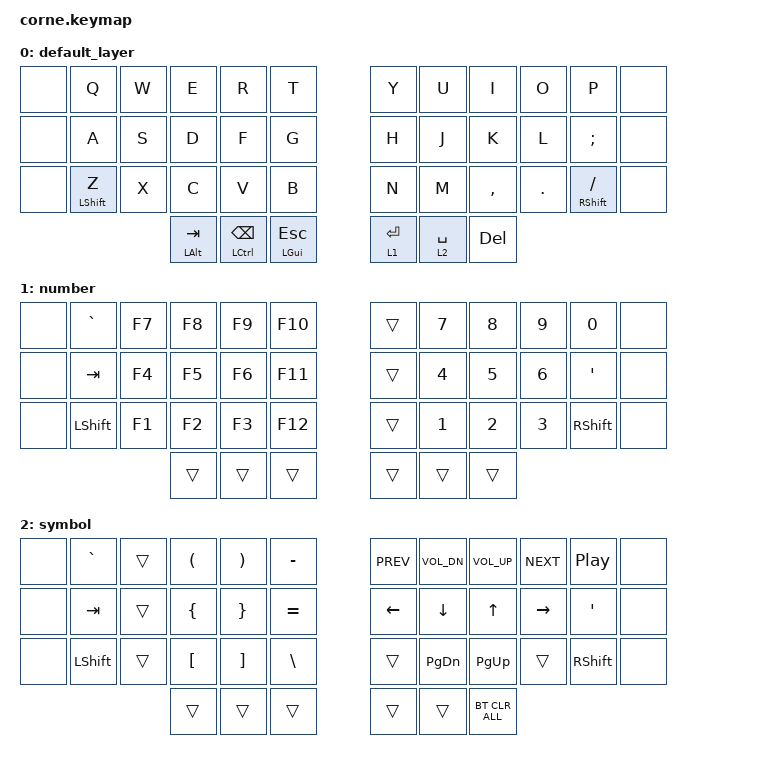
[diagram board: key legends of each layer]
/*
 * Copyright (c) 2020 The ZMK Contributors
 *
 * SPDX-License-Identifier: MIT
 */

#include <behaviors.dtsi>
#include <dt-bindings/zmk/bt.h>
#include <dt-bindings/zmk/keys.h>

/ {
    behaviors {
        ctrl_backspace: ctrl_backspace {
            compatible = "zmk,behavior-hold-tap";
            label = "CTRL_BACKSPACE";
            #binding-cells = <2>;
            tapping-term-ms = <100>;
            quick-tap-ms = <200>;
            bindings = <&kp>, <&kp>;

            flavor = "tap-preferred";
        };
    };

    keymap {
        compatible = "zmk,keymap";

        default_layer {
            // -----------------------------------------------------------------------------------------
            // |  TAB |  Q  |  W  |  E  |  R  |  T  |   |  Y  |  U   |  I  |  O  |  P  | BKSP |
            // | CTRL |  A  |  S  |  D  |  F  |  G  |   |  H  |  J   |  K  |  L  |  ;  |  '   |
            // | SHFT |  Z  |  X  |  C  |  V  |  B  |   |  N  |  M   |  ,  |  .  |  /  | ESC  |
            //                    | GUI | LWR | SPC |   | ENT | RSE  | ALT |

            bindings = <
&none  &kp Q         &kp W  &kp E         &kp R                                   &kp T                  &kp Y        &kp U        &kp I       &kp O    &kp P            &none
&none  &kp A         &kp S  &kp D         &kp F                                   &kp G                  &kp H        &kp J        &kp K       &kp L    &kp SEMI         &none
&none  &mt LSHIFT Z  &kp X  &kp C         &kp V                                   &kp B                  &kp N        &kp M        &kp COMMA   &kp DOT  &mt RSHIFT FSLH  &none
                            &mt LALT TAB  &ctrl_backspace LEFT_CONTROL BACKSPACE  &mt LEFT_GUI ESCAPE    &lt 1 ENTER  &lt 2 SPACE  &kp DELETE
            >;
        };

        number {
            // -----------------------------------------------------------------------------------------
            // |  TAB |  1  |  2  |  3  |  4  |  5  |   |  6  |  7  |  8  |  9  |  0  | BKSP |
            // | BTCLR| BT1 | BT2 | BT3 | BT4 | BT5 |   | LFT | DWN |  UP | RGT |     |      |
            // | SHFT |     |     |     |     |     |   |     |     |     |     |     |      |
            //                    | GUI |     | SPC |   | ENT |     | ALT |

            bindings = <
&none  &kp GRAVE       &kp F7  &kp F8  &kp F9  &kp F10    &trans  &kp N7  &kp N8  &kp N9  &kp N0           &none
&none  &kp TAB         &kp F4  &kp F5  &kp F6  &kp F11    &trans  &kp N4  &kp N5  &kp N6  &kp SQT          &none
&none  &kp LEFT_SHIFT  &kp F1  &kp F2  &kp F3  &kp F12    &trans  &kp N1  &kp N2  &kp N3  &kp RIGHT_SHIFT  &none
                               &trans  &trans  &trans     &trans  &trans  &trans
            >;
        };

        symbol {
            // -----------------------------------------------------------------------------------------
            // |  TAB |  !  |  @  |  #  |  $  |  %  |   |  ^  |  &  |  *  |  (  |  )  | BKSP |
            // | CTRL |     |     |     |     |     |   |  -  |  =  |  [  |  ]  |  \  |  `   |
            // | SHFT |     |     |     |     |     |   |  _  |  +  |  {  |  }  | "|" |  ~   |
            //                    | GUI |     | SPC |   | ENT |     | ALT |

            bindings = <
&none  &kp GRAVE   &trans  &kp LPAR  &kp RPAR  &kp MINUS    &kp C_PREV  &kp C_VOL_DN   &kp C_VOL_UP    &kp C_NEXT  &kp C_PLAY_PAUSE  &none
&none  &kp TAB     &trans  &kp LBRC  &kp RBRC  &kp EQUAL    &kp LEFT    &kp DOWN       &kp UP          &kp RIGHT   &kp SQT           &none
&none  &kp LSHIFT  &trans  &kp LBKT  &kp RBKT  &kp BSLH     &trans      &kp PAGE_DOWN  &kp PAGE_UP     &trans      &kp RSHIFT        &none
                           &trans    &trans    &trans       &trans      &trans         &bt BT_CLR_ALL
            >;
        };
    };
};
